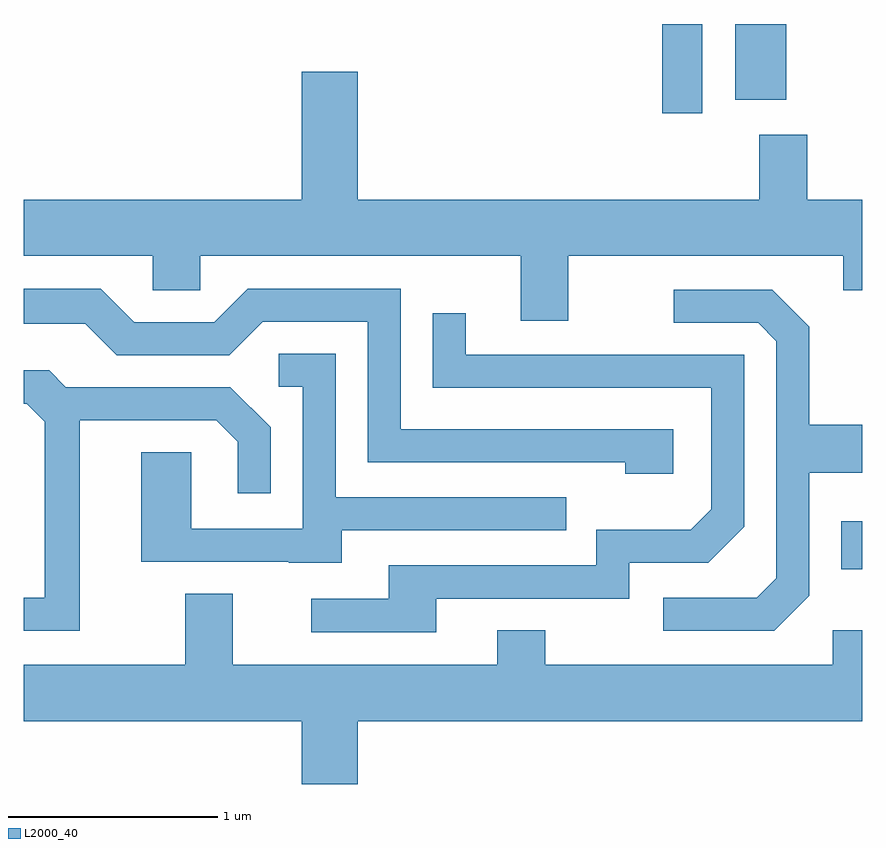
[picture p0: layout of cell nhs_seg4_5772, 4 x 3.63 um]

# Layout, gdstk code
import gdstk
lib = gdstk.Library(unit=1e-6, precision=1e-09)
def R(c, l, rs):  # rectangles x0, y0, x1, y1
    for r in rs: c.add(gdstk.rectangle(r[:2], r[2:], *l))
def P(c, l, *ps):  # polygons
    for p in ps: c.add(gdstk.Polygon(p, *l))
L2000_40 = (2000, 40)

nhs_seg4_5772 = lib.new_cell('nhs_seg4_5772')
R(nhs_seg4_5772, L2000_40, [(357.511,1375.381,357.611,1375.609), (356.656,1377.556,356.849,1377.982), (357.006,1377.621,357.249,1377.982)])
P(nhs_seg4_5772, L2000_40, [(356.209,1376.876),(357.521,1376.876),(357.521,1376.711),(357.611,1376.711),(357.611,1377.144),(357.349,1377.144),(357.349,1377.454),(357.121,1377.454),(357.121,1377.144),(355.204,1377.144),(355.204,1377.754),(354.936,1377.754),(354.936,1377.144),(353.611,1377.144),(353.611,1376.876),(354.226,1376.876),(354.226,1376.711),(354.454,1376.711),(354.454,1376.876),(355.981,1376.876),(355.981,1376.566),(356.209,1376.566)],
  [(356.709,1376.049),(355.409,1376.049),(355.409,1376.719),(354.679,1376.719),(354.519,1376.559),(354.137,1376.559),(353.977,1376.719),(353.611,1376.719),(353.611,1376.551),(353.904,1376.551),(354.054,1376.401),(354.592,1376.401),(354.752,1376.561),(355.251,1376.561),(355.251,1375.891),(356.481,1375.891),(356.481,1375.836),(356.709,1375.836)],
  [(357.359,1375.254),(357.359,1375.841),(357.611,1375.841),(357.611,1376.069),(357.359,1376.069),(357.359,1376.537),(357.182,1376.714),(356.713,1376.714),(356.713,1376.556),(357.114,1376.556),(357.201,1376.469),(357.201,1375.337),(357.109,1375.244),(356.663,1375.244),(356.663,1375.086),(357.192,1375.086)],
  [(355.579,1375.241),(356.499,1375.241),(356.499,1375.411),(356.877,1375.411),(357.049,1375.584),(357.049,1376.404),(355.719,1376.404),(355.719,1376.603),(355.561,1376.603),(355.561,1376.246),(356.891,1376.246),(356.891,1375.667),(356.794,1375.569),(356.341,1375.569),(356.341,1375.399),(355.351,1375.399),(355.351,1375.239),(354.983,1375.239),(354.983,1375.081),(355.579,1375.081)],
  [(355.129,1375.566),(356.198,1375.566),(356.198,1375.724),(355.099,1375.724),(355.099,1376.409),(354.828,1376.409),(354.828,1376.251),(354.941,1376.251),(354.941,1375.574),(354.409,1375.574),(354.409,1375.939),(354.171,1375.939),(354.171,1375.416),(354.875,1375.416),(354.875,1375.411),(355.129,1375.411)],
  [(353.879,1376.091),(354.529,1376.091),(354.631,1375.989),(354.631,1375.743),(354.789,1375.743),(354.789,1376.057),(354.597,1376.249),(353.812,1376.249),(353.732,1376.329),(353.611,1376.329),(353.611,1376.171),(353.624,1376.171),(353.711,1376.084),(353.711,1375.244),(353.611,1375.244),(353.611,1375.086),(353.879,1375.086)],
  [(355.204,1374.656),(357.611,1374.656),(357.611,1375.089),(357.471,1375.089),(357.471,1374.924),(356.099,1374.924),(356.099,1375.089),(355.871,1375.089),(355.871,1374.924),(354.609,1374.924),(354.609,1375.264),(354.381,1375.264),(354.381,1374.924),(353.611,1374.924),(353.611,1374.656),(354.936,1374.656),(354.936,1374.356),(355.204,1374.356)])

lib.write_gds('nhs_seg4_5772.gds')
